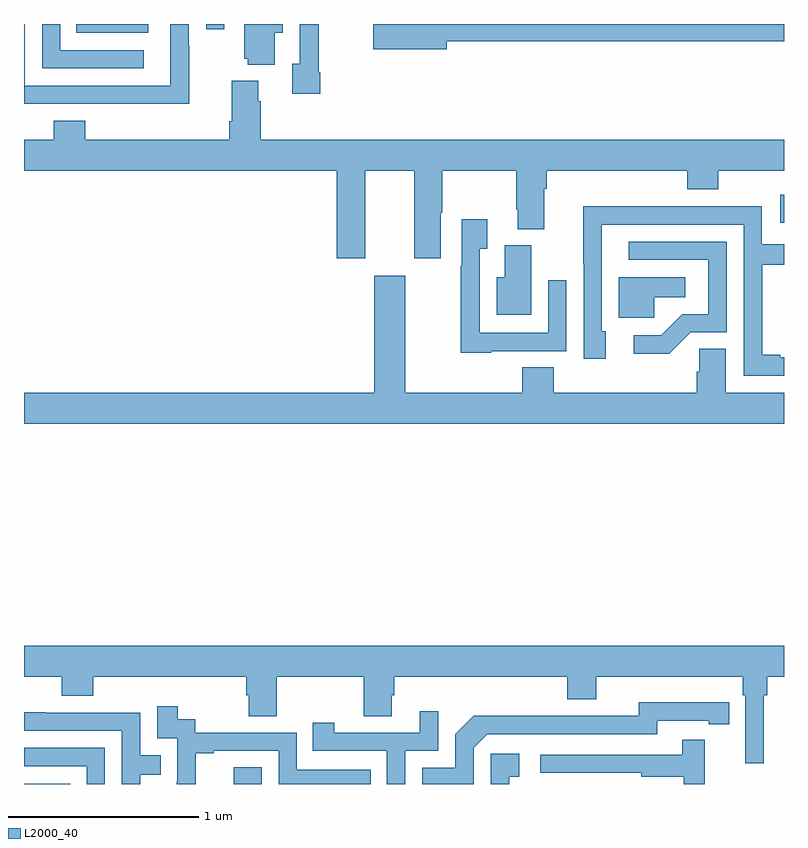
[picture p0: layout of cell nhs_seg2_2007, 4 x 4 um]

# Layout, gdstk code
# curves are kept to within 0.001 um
import gdstk
lib = gdstk.Library(unit=1e-6, precision=1e-09)
def R(c, l, rs):  # rectangles x0, y0, x1, y1
    for r in rs: c.add(gdstk.rectangle(r[:2], r[2:], *l))
def P(c, l, *ps):  # polygons
    for p in ps: c.add(gdstk.Polygon(p, *l))
L2000_40 = (2000, 40)

nhs_seg2_2007 = lib.new_cell('nhs_seg2_2007')
R(nhs_seg2_2007, L2000_40, [(217,585.8,217.244,585.802), (218.103,585.8,218.25,585.889), (220.98,588.753,221,588.901), (217.276,589.754,217.654,589.8), (217.959,589.773,218.055,589.8)])
P(nhs_seg2_2007, L2000_40, [(218.32,589.754),(218.362,589.754),(218.362,589.8),(218.159,589.8),(218.159,589.617),(218.177,589.617),(218.177,589.586),(218.32,589.586)],
  [(217.63,589.662),(217.191,589.662),(217.191,589.8),(217.095,589.8),(217.095,589.566),(217.63,589.566)],
  [(217.869,589.685),(217.866,589.685),(217.866,589.8),(217.77,589.8),(217.77,589.476),(217.005,589.476),(217.005,589.8),(217,589.8),(217,589.38),(217.405,589.38),(217.405,589.379),(217.869,589.379)],
  [(218.56,589.546),(218.552,589.546),(218.552,589.8),(218.451,589.8),(218.451,589.59),(218.411,589.59),(218.411,589.434),(218.56,589.434)],
  [(219.226,589.708),(221,589.708),(221,589.8),(218.838,589.8),(218.838,589.666),(219.226,589.666)],
  [(218.797,589.028),(219.053,589.028),(219.053,588.567),(219.193,588.567),(219.193,588.806),(219.201,588.806),(219.201,589.028),(219.592,589.028),(219.592,588.826),(219.599,588.826),(219.599,588.721),(219.739,588.721),(219.739,588.932),(219.752,588.932),(219.752,589.028),(220.49,589.028),(220.49,588.929),(220.655,588.929),(220.655,589.028),(221,589.028),(221,589.192),(218.246,589.192),(218.246,589.394),(218.233,589.394),(218.233,589.501),(218.093,589.501),(218.093,589.288),(218.081,589.288),(218.081,589.192),(217.322,589.192),(217.322,589.291),(217.157,589.291),(217.157,589.192),(217,589.192),(217,589.028),(218.645,589.028),(218.645,588.567),(218.797,588.567)],
  [(221,588.045),(220.981,588.045),(220.981,588.06),(220.885,588.06),(220.885,588.534),(221,588.534),(221,588.642),(220.884,588.642),(220.884,588.84),(220.406,588.84),(220.406,588.842),(219.944,588.842),(219.944,588.538),(219.945,588.538),(219.945,588.039),(220.063,588.039),(220.063,588.183),(220.041,588.183),(220.041,588.744),(220.788,588.744),(220.788,587.949),(221,587.949)],
  [(219.459,588.078),(219.855,588.078),(219.855,588.451),(219.759,588.451),(219.759,588.174),(219.399,588.174),(219.399,588.616),(219.439,588.616),(219.439,588.772),(219.303,588.772),(219.303,588.527),(219.298,588.527),(219.298,588.071),(219.459,588.071)],
  [(220.509,588.177),(220.698,588.177),(220.698,588.654),(220.182,588.654),(220.182,588.558),(220.602,588.558),(220.602,588.273),(220.464,588.273),(220.353,588.162),(220.209,588.162),(220.209,588.065),(220.396,588.065)],
  [(219.67,588.636),(219.53,588.636),(219.53,588.466),(219.488,588.466),(219.488,588.269),(219.67,588.269)],
  [(221,587.86),(220.693,587.86),(220.693,588.092),(220.554,588.092),(220.554,587.969),(220.541,587.969),(220.541,587.86),(219.788,587.86),(219.788,587.993),(219.623,587.993),(219.623,587.86),(219.007,587.86),(219.007,588.475),(218.843,588.475),(218.843,587.86),(217,587.86),(217,587.696),(221,587.696)],
  [(220.317,588.362),(220.48,588.362),(220.48,588.466),(220.13,588.466),(220.13,588.255),(220.317,588.255)],
  [(220.894,586.268),(220.913,586.268),(220.913,586.364),(221,586.364),(221,586.528),(217,586.528),(217,586.364),(217.199,586.364),(217.199,586.265),(217.364,586.265),(217.364,586.364),(218.171,586.364),(218.171,586.266),(218.183,586.266),(218.183,586.156),(218.331,586.156),(218.331,586.364),(218.788,586.364),(218.788,586.156),(218.935,586.156),(218.935,586.266),(218.948,586.266),(218.948,586.364),(219.86,586.364),(219.86,586.247),(220.012,586.247),(220.012,586.364),(220.784,586.364),(220.784,586.268),(220.797,586.268),(220.797,585.909),(220.894,585.909)],
  [(219.366,585.99),(219.438,586.062),(220.332,586.062),(220.332,586.134),(220.604,586.134),(220.604,586.114),(220.712,586.114),(220.712,586.23),(220.236,586.231),(220.236,586.158),(219.776,586.158),(219.776,586.16),(219.368,586.16),(219.27,586.062),(219.27,585.885),(219.096,585.885),(219.096,585.8),(219.366,585.8)],
  [(217.904,585.963),(217.999,585.963),(217.999,585.975),(218.34,585.975),(218.34,585.8),(218.825,585.8),(218.825,585.876),(218.436,585.876),(218.436,586.071),(217.902,586.071),(217.902,586.14),(217.81,586.14),(217.81,586.21),(217.701,586.21),(217.701,586.041),(217.806,586.041),(217.806,585.812),(217.805,585.812),(217.805,585.8),(217.904,585.8)],
  [(219.006,585.975),(219.18,585.975),(219.18,586.183),(219.083,586.183),(219.083,586.071),(218.632,586.071),(218.632,586.123),(218.521,586.123),(218.521,585.975),(218.91,585.975),(218.91,585.8),(219.006,585.8)],
  [(217.611,585.85),(217.721,585.85),(217.721,585.951),(217.611,585.951),(217.611,586.176),(217.115,586.176),(217.115,586.178),(217,586.178),(217,586.08),(217.515,586.08),(217.515,585.8),(217.611,585.8)],
  [(220.583,586.033),(220.465,586.033),(220.465,585.954),(219.717,585.954),(219.717,585.858),(220.249,585.858),(220.249,585.838),(220.473,585.838),(220.473,585.8),(220.583,585.8)],
  [(217.425,585.99),(217,585.99),(217,585.894),(217.329,585.894),(217.329,585.8),(217.425,585.8)],
  [(219.554,585.837),(219.607,585.837),(219.607,585.958),(219.456,585.958),(219.456,585.8),(219.554,585.8)])

lib.write_gds('nhs_seg2_2007.gds')
